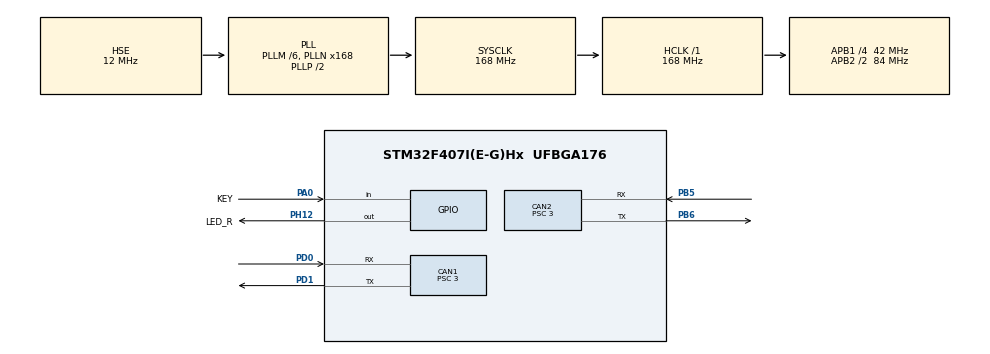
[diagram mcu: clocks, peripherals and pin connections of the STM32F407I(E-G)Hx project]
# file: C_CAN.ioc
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CAN1.BS1=CAN_BS1_9TQ
CAN1.BS2=CAN_BS2_4TQ
CAN1.CalculateTimeQuantum=71.42857142857143
CAN1.Prescaler=3
CAN2.BS1=CAN_BS1_9TQ
CAN2.BS2=CAN_BS2_4TQ
CAN2.CalculateTimeQuantum=71.42857142857143
CAN2.Prescaler=3
Mcu.Family=STM32F4
Mcu.Name=STM32F407I(E-G)Hx
Mcu.Package=UFBGA176
NVIC.CAN1_RX0_IRQn=true\:0\:0\:false\:false\:true\:true\:true
NVIC.CAN1_RX1_IRQn=true\:0\:0\:false\:false\:true\:true\:true
NVIC.CAN1_SCE_IRQn=true\:0\:0\:false\:false\:true\:true\:true
NVIC.CAN1_TX_IRQn=true\:0\:0\:false\:false\:true\:true\:true
NVIC.CAN2_RX0_IRQn=true\:0\:0\:false\:false\:true\:true\:true
NVIC.CAN2_RX1_IRQn=true\:0\:0\:false\:false\:true\:true\:true
NVIC.CAN2_SCE_IRQn=true\:0\:0\:false\:false\:true\:true\:true
NVIC.CAN2_TX_IRQn=true\:0\:0\:false\:false\:true\:true\:true
NVIC.PriorityGroup=NVIC_PRIORITYGROUP_4
NVIC.TIM7_IRQn=true\:0\:0\:false\:false\:true\:false\:true
NVIC.TimeBase=TIM7_IRQn
NVIC.TimeBaseIP=TIM7
PA0-WKUP.GPIO_Label=KEY
PA0-WKUP.Signal=GPIO_Input
PA13.Mode=Serial_Wire
PA13.Signal=SYS_JTMS-SWDIO
PA14.Mode=Serial_Wire
PA14.Signal=SYS_JTCK-SWCLK
PB5.Mode=Slave
PB5.Signal=CAN2_RX
PB6.Mode=Slave
PB6.Signal=CAN2_TX
PD0.Mode=Master
PD0.Signal=CAN1_RX
PD1.Mode=Master
PD1.Signal=CAN1_TX
PH0-OSC_IN.Mode=HSE-External-Oscillator
PH0-OSC_IN.Signal=RCC_OSC_IN
PH1-OSC_OUT.Mode=HSE-External-Oscillator
PH1-OSC_OUT.Signal=RCC_OSC_OUT
PH12.GPIO_Label=LED_R
PH12.Signal=GPIO_Output
ProjectManager.HeapSize=0x200
ProjectManager.StackSize=0x400
ProjectManager.TargetToolchain=MDK-ARM V5
RCC.48MHZClocksFreq_Value=84000000
RCC.AHBFreq_Value=168000000
RCC.APB1CLKDivider=RCC_HCLK_DIV4
RCC.APB1Freq_Value=42000000
RCC.APB1TimFreq_Value=84000000
RCC.APB2CLKDivider=RCC_HCLK_DIV2
RCC.APB2Freq_Value=84000000
RCC.APB2TimFreq_Value=168000000
RCC.CortexFreq_Value=168000000
RCC.HCLKFreq_Value=168000000
RCC.HSE_VALUE=12000000
RCC.HSI_VALUE=16000000
RCC.LSE_VALUE=32768
RCC.PLLM=6
RCC.PLLN=168
RCC.PLLSourceVirtual=RCC_PLLSOURCE_HSE
RCC.SYSCLKFreq_VALUE=168000000
RCC.SYSCLKSource=RCC_SYSCLKSOURCE_PLLCLK
RCC.VCOOutputFreq_Value=336000000
VP_SYS_VS_tim7.Mode=TIM7
board=custom

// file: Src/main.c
/* USER CODE BEGIN Header */
/**
  ******************************************************************************
  * @file           : main.c
  * @brief          : Main program body
  ******************************************************************************
  * @attention
  *
  * <h2><center>&copy; Copyright (c) 2022 STMicroelectronics.
  * All rights reserved.</center></h2>
  *
  * This software component is licensed by ST under BSD 3-Clause license,
  * the "License"; You may not use this file except in compliance with the
  * License. You may obtain a copy of the License at:
  *                        opensource.org/licenses/BSD-3-Clause
  *
  ******************************************************************************
  */
/* USER CODE END Header */

#include "main.h"
#include "can.h"
#include "gpio.h"

/* USER CODE BEGIN Includes */
#include "stdbool.h"
/* USER CODE END Includes */

/* USER CODE BEGIN PV */
uint8_t	txDataBuffer[8],rxDataBuffer0[8],rxDataBuffer1[8];
uint16_t txId = 0x200;
uint32_t txMailbox;
CAN_TxHeaderTypeDef	txHeader;	//存储发送接收号
CAN_RxHeaderTypeDef	rxHeader0,rxHeader1;
bool pa0Pressed = false;
/* USER CODE END PV */

void SystemClock_Config(void);
/* USER CODE BEGIN PFP */
void CAN_ConfigFilter();
/* USER CODE END PFP */

int main(void)
{

  /* MCU Configuration--------------------------------------------------------*/

  /* Reset of all peripherals, Initializes the Flash interface and the Systick. */
  HAL_Init();

  /* Configure the system clock */
  SystemClock_Config();

  /* Initialize all configured peripherals */
  MX_GPIO_Init();
  MX_CAN1_Init();
  MX_CAN2_Init();
  /* USER CODE BEGIN 2 */
  CAN_ConfigFilter();
  /* USER CODE END 2 */

  /* Infinite loop */
  while (1)
  {

    /* USER CODE BEGIN 3 */
	  if(HAL_GPIO_ReadPin(GPIOA,GPIO_PIN_0) == GPIO_PIN_RESET && !pa0Pressed){	//上升沿
		pa0Pressed = true;
		txHeader.StdId = txId;		//发送ID号
		txHeader.IDE = CAN_ID_STD;	//选择为标准帧
		txHeader.RTR = CAN_RTR_DATA;	//选择为数据帧
		txHeader.DLC = 8;
		*((uint32_t*)(txDataBuffer)) = HAL_GetTick();
		if(HAL_CAN_GetTxMailboxesFreeLevel(&hcan1) != 0){
			HAL_CAN_AddTxMessage(&hcan1,&txHeader,txDataBuffer,&txMailbox);		//判定当前是否有空闲邮箱
		}
	  }
	  else if(HAL_GPIO_ReadPin(GPIOA,GPIO_PIN_0) == GPIO_PIN_SET && pa0Pressed){	//下降沿
		  pa0Pressed = false;
	  }
	  HAL_Delay(100);
  }
  /* USER CODE END 3 */
}

void SystemClock_Config(void)
{
  RCC_OscInitTypeDef RCC_OscInitStruct = {0};
  RCC_ClkInitTypeDef RCC_ClkInitStruct = {0};

  /** Configure the main internal regulator output voltage
  */
  __HAL_RCC_PWR_CLK_ENABLE();
  __HAL_PWR_VOLTAGESCALING_CONFIG(PWR_REGULATOR_VOLTAGE_SCALE1);
  /** Initializes the CPU, AHB and APB busses clocks
  */
  RCC_OscInitStruct.OscillatorType = RCC_OSCILLATORTYPE_HSE;
  RCC_OscInitStruct.HSEState = RCC_HSE_ON;
  RCC_OscInitStruct.PLL.PLLState = RCC_PLL_ON;
  RCC_OscInitStruct.PLL.PLLSource = RCC_PLLSOURCE_HSE;
  RCC_OscInitStruct.PLL.PLLM = 6;
  RCC_OscInitStruct.PLL.PLLN = 168;
  RCC_OscInitStruct.PLL.PLLP = RCC_PLLP_DIV2;
  RCC_OscInitStruct.PLL.PLLQ = 4;
  if (HAL_RCC_OscConfig(&RCC_OscInitStruct) != HAL_OK)
  {
    Error_Handler();
  }
  /** Initializes the CPU, AHB and APB busses clocks
  */
  RCC_ClkInitStruct.ClockType = RCC_CLOCKTYPE_HCLK|RCC_CLOCKTYPE_SYSCLK
                              |RCC_CLOCKTYPE_PCLK1|RCC_CLOCKTYPE_PCLK2;
  RCC_ClkInitStruct.SYSCLKSource = RCC_SYSCLKSOURCE_PLLCLK;
  RCC_ClkInitStruct.AHBCLKDivider = RCC_SYSCLK_DIV1;
  RCC_ClkInitStruct.APB1CLKDivider = RCC_HCLK_DIV4;
  RCC_ClkInitStruct.APB2CLKDivider = RCC_HCLK_DIV2;

  if (HAL_RCC_ClockConfig(&RCC_ClkInitStruct, FLASH_LATENCY_5) != HAL_OK)
  {
    Error_Handler();
  }
}

/* USER CODE BEGIN 4 */
//配置过滤器
void CAN_ConfigFilter(){
	CAN_FilterTypeDef sFilterConfig;
	sFilterConfig.FilterActivation = CAN_FILTER_ENABLE;	//启用过滤器
	sFilterConfig.FilterBank = 0;	//过滤器编号（CAN1：0-13，CAN2：14-27），这里选择0号过滤器
	sFilterConfig.FilterFIFOAssignment = CAN_FILTER_FIFO0;	//选择接收邮箱
	sFilterConfig.FilterMode = CAN_FILTERMODE_IDMASK;	//掩码
	sFilterConfig.FilterScale = CAN_FILTERSCALE_32BIT;	//32位
	sFilterConfig.FilterIdHigh = 0x00;
	sFilterConfig.FilterIdLow = 0x00;
	sFilterConfig.FilterMaskIdHigh = 0x00;
	sFilterConfig.FilterMaskIdLow = 0x00;
	sFilterConfig.SlaveStartFilterBank = 14; //定值

	if(HAL_CAN_ConfigFilter(&hcan1,&sFilterConfig))	//定义can1的过滤器0的各项参数
	{

		Error_Handler();	//如果配置错误，则进入此函数
	}

	sFilterConfig.FilterActivation = CAN_FILTER_ENABLE;	//启用过滤器
	sFilterConfig.FilterBank = 14;	//过滤器编号（CAN1：0-13，CAN2：14-27），这里选择14号过滤器
	sFilterConfig.FilterFIFOAssignment = CAN_FILTER_FIFO0;	//选择FIFO0接收邮箱
	sFilterConfig.FilterMode = CAN_FILTERMODE_IDLIST;	//列表
	sFilterConfig.FilterScale = CAN_FILTERSCALE_16BIT;	//16位
	sFilterConfig.FilterIdHigh = 0x201<<5;
	sFilterConfig.FilterIdLow = 0x202<<5;
	sFilterConfig.FilterMaskIdHigh = 0x203<<5;
	sFilterConfig.FilterMaskIdLow = 0x204<<5;
	sFilterConfig.SlaveStartFilterBank = 14; //定值

	if(HAL_CAN_ConfigFilter(&hcan2,&sFilterConfig))	//定义can2的过滤器14各项参数
	{

		Error_Handler();	//如果配置错误，则进入此函数
	}

	sFilterConfig.FilterActivation = CAN_FILTER_ENABLE;	//启用过滤器
	sFilterConfig.FilterBank = 15;	//过滤器编号（CAN1：0-13，CAN2：14-27），这里选择15号过滤器
	sFilterConfig.FilterFIFOAssignment = CAN_FILTER_FIFO1;	//选择FIFO1接收邮箱
	sFilterConfig.FilterMode = CAN_FILTERMODE_IDMASK;	//掩码
	sFilterConfig.FilterScale = CAN_FILTERSCALE_16BIT;	//16位
	sFilterConfig.FilterIdHigh = 0x201<<5;
	sFilterConfig.FilterMaskIdHigh = 0x7F0<<5;	//过滤0x200~0x20F的ID
	sFilterConfig.FilterIdLow = 0x000<<5;
	sFilterConfig.FilterMaskIdLow = 0xFFFF<<5;
	sFilterConfig.SlaveStartFilterBank = 14; //定值

	if(HAL_CAN_ConfigFilter(&hcan2,&sFilterConfig))	//定义can2的过滤器15各项参数
	{

		Error_Handler();	//如果配置错误，则进入此函数
	}

	if(HAL_CAN_Start(&hcan1) != HAL_OK){	//正式启用can1
		Error_Handler();
	}

	if(HAL_CAN_Start(&hcan2) != HAL_OK){	//正式启用can2
		Error_Handler();
	}

	if(HAL_CAN_ActivateNotification(&hcan1,CAN_IT_RX_FIFO0_MSG_PENDING | CAN_IT_RX_FIFO1_MSG_PENDING) != HAL_OK){
		Error_Handler();
	}

	if(HAL_CAN_ActivateNotification(&hcan2,CAN_IT_RX_FIFO0_MSG_PENDING | CAN_IT_RX_FIFO1_MSG_PENDING) != HAL_OK){
		Error_Handler();
	}
}
//CAN2 FIFO0中断
void HAL_CAN_RxFifo0MsgPendingCallback(CAN_HandleTypeDef *hcan){
	if(hcan == &hcan2){
		HAL_CAN_GetRxMessage(&hcan2,CAN_RX_FIFO0,&rxHeader0,rxDataBuffer0);
	}
}
//CAN2 FIFO1中断
void HAL_CAN_RxFifo1MsgPendingCallback(CAN_HandleTypeDef *hcan){
	if(hcan == &hcan2){
		HAL_CAN_GetRxMessage(&hcan2,CAN_RX_FIFO1,&rxHeader1,rxDataBuffer1);
	}
}
/* USER CODE END 4 */

void HAL_TIM_PeriodElapsedCallback(TIM_HandleTypeDef *htim)
{
  if (htim->Instance == TIM7) {
    HAL_IncTick();
  }
}

void Error_Handler(void)
{
}

/************************ (C) COPYRIGHT STMicroelectronics *****END OF FILE****/
